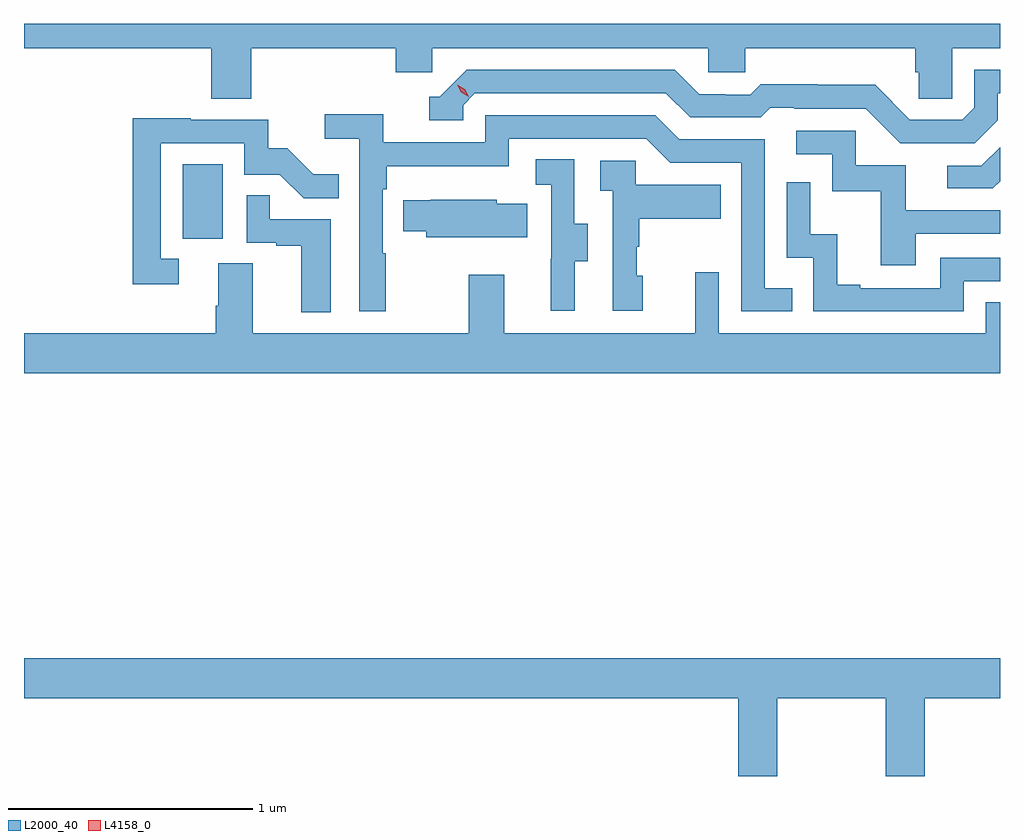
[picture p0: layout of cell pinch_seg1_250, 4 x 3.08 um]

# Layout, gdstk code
import gdstk
lib = gdstk.Library(unit=1e-6, precision=1e-09)
def R(c, l, rs):  # rectangles x0, y0, x1, y1
    for r in rs: c.add(gdstk.rectangle(r[:2], r[2:], *l))
def P(c, l, *ps):  # polygons
    for p in ps: c.add(gdstk.Polygon(p, *l))
L2000_40 = (2000, 40)
L4158_0 = (4158, 0)

pinch_seg1_250 = lib.new_cell('pinch_seg1_250')
R(pinch_seg1_250, L2000_40, [(925.892,582.918,926.056,583.225)])
P(pinch_seg1_250, L2000_40, [(925.242,583.7),(926.009,583.7),(926.009,583.492),(926.174,583.492),(926.174,583.7),(926.765,583.7),(926.765,583.602),(926.916,583.602),(926.916,583.7),(928.047,583.7),(928.047,583.602),(928.197,583.602),(928.197,583.7),(928.895,583.7),(928.895,583.602),(928.909,583.602),(928.909,583.492),(929.046,583.492),(929.046,583.7),(929.242,583.7),(929.242,583.8),(925.242,583.8)],
  [(929.233,583.405),(929.233,583.515),(929.242,583.515),(929.242,583.611),(929.136,583.611),(929.136,583.455),(929.088,583.407),(928.872,583.407),(928.73,583.549),(928.494,583.549),(928.494,583.552),(928.261,583.552),(928.219,583.509),(928.116,583.509),(928.116,583.512),(928.009,583.512),(927.91,583.611),(927.057,583.611),(926.946,583.5),(926.903,583.5),(926.903,583.404),(927.042,583.404),(927.042,583.467),(927.09,583.515),(927.873,583.515),(927.972,583.416),(928.261,583.416),(928.3,583.455),(928.399,583.455),(928.399,583.452),(928.692,583.452),(928.833,583.311),(929.139,583.311)],
  [(926.725,582.86),(926.712,582.86),(926.712,583.121),(926.729,583.121),(926.729,583.217),(927.228,583.217),(927.228,583.329),(927.792,583.329),(927.891,583.23),(928.182,583.23),(928.182,582.621),(928.391,582.621),(928.391,582.717),(928.278,582.717),(928.278,583.326),(927.928,583.326),(927.829,583.425),(927.132,583.425),(927.132,583.314),(926.714,583.314),(926.714,583.43),(926.475,583.43),(926.475,583.328),(926.616,583.328),(926.616,582.621),(926.725,582.621)],
  [(925.876,582.837),(925.803,582.837),(925.803,583.311),(926.145,583.311),(926.145,583.182),(926.29,583.182),(926.388,583.084),(926.531,583.084),(926.531,583.183),(926.427,583.183),(926.32,583.29),(926.244,583.29),(926.244,583.407),(925.925,583.407),(925.925,583.412),(925.687,583.412),(925.687,582.732),(925.876,582.732)],
  [(928.897,582.939),(929.242,582.939),(929.242,583.035),(928.855,583.035),(928.855,583.221),(928.65,583.221),(928.65,583.362),(928.407,583.362),(928.407,583.266),(928.554,583.266),(928.554,583.113),(928.753,583.113),(928.753,582.81),(928.897,582.81)],
  [(929.242,583.155),(929.242,583.294),(929.166,583.218),(929.025,583.218),(929.025,583.125),(929.212,583.125)],
  [(927.499,582.826),(927.553,582.826),(927.553,582.981),(927.498,582.981),(927.498,583.244),(927.339,583.244),(927.339,583.141),(927.402,583.141),(927.402,582.837),(927.401,582.837),(927.401,582.624),(927.499,582.624)],
  [(927.778,582.768),(927.753,582.768),(927.753,582.887),(927.763,582.887),(927.763,583.001),(928.097,583.001),(928.097,583.141),(927.75,583.141),(927.75,583.239),(927.603,583.239),(927.603,583.115),(927.654,583.115),(927.654,582.624),(927.778,582.624)],
  [(929.094,582.744),(929.242,582.744),(929.242,582.84),(928.998,582.84),(928.998,582.717),(928.669,582.717),(928.669,582.73),(928.574,582.73),(928.574,582.938),(928.464,582.938),(928.464,583.15),(928.368,583.15),(928.368,582.84),(928.476,582.84),(928.476,582.621),(929.094,582.621)],
  [(926.5,582.999),(926.249,582.999),(926.249,583.097),(926.154,583.097),(926.154,582.903),(926.275,582.903),(926.275,582.891),(926.378,582.891),(926.378,582.617),(926.5,582.617)],
  [(927.305,583.063),(927.18,583.063),(927.18,583.078),(926.908,583.078),(926.908,583.077),(926.797,583.077),(926.797,582.949),(926.891,582.949),(926.891,582.926),(927.305,582.926)],
  [(929.242,582.659),(929.184,582.659),(929.184,582.532),(928.089,582.532),(928.089,582.781),(927.992,582.781),(927.992,582.532),(927.211,582.532),(927.211,582.772),(927.064,582.772),(927.064,582.532),(926.179,582.532),(926.179,582.818),(926.039,582.818),(926.039,582.644),(926.027,582.644),(926.027,582.532),(925.242,582.532),(925.242,582.368),(929.242,582.368)],
  [(928.329,581.036),(928.774,581.036),(928.774,580.716),(928.934,580.716),(928.934,581.036),(929.242,581.036),(929.242,581.2),(925.242,581.2),(925.242,581.036),(928.169,581.036),(928.169,580.716),(928.329,580.716)])
P(pinch_seg1_250, L4158_0, [(927.064,583.5),(927.033,583.519),(927.017,583.551),(927.017,583.551),(927.017,583.551),(927.048,583.532),(927.065,583.5),(927.065,583.5)])

lib.write_gds('pinch_seg1_250.gds')
